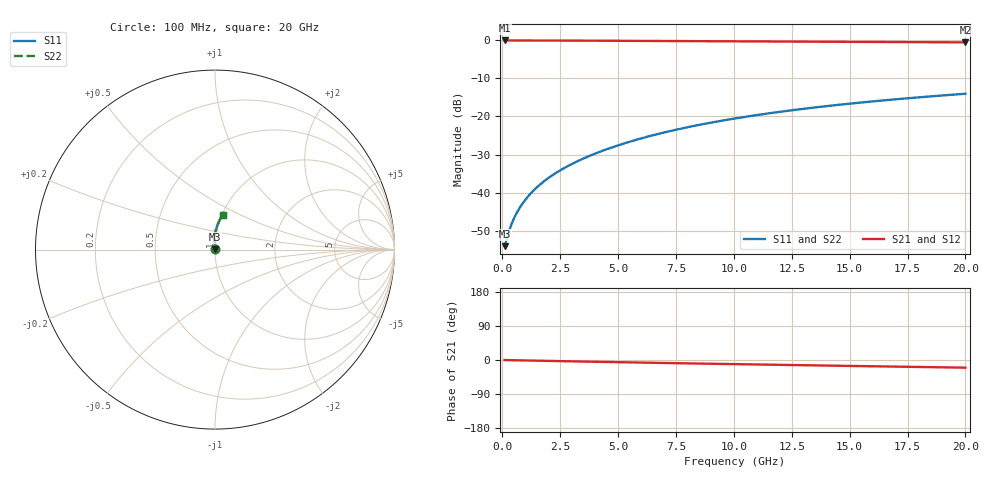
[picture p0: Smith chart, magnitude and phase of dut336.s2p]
! Touchstone file exported from HFSS 2024.1.0
!  File:  C:/UserFiles/LocalFiles/RDL_TSV_Batchsim/temp_RDL_top_336_1779607615.aedt
!  Generated:  03:29:26 PM May 24, 2026
!  Design:  RDL_top
!  Project:  temp_RDL_top_336_1779607615
!  Setup:  Setup1
!  Solution:  Sweep
! Variables:
!  dtsv = 10.80580581um
!  hbump = 3um
!  htsv = 86.73um
!  ldown = 100um
!  lrdl = 256.17um
!  p = 40
!  p1 = 53.99um
!  rhole = 1um
!  t = 450um
!  tdown = 3.915915916um
!  trdl = 2.3um
!  wdown = 15.38538539um
!  wrdl = 28.95um
# GHz S MA R 50.000000
! Terminal data exported
! Port[1] = Box2_T1
! Port[2] = Box2_T2
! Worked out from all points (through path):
!   200 points, 100 MHz to 20 GHz, reference 50 ohm
!   highest |S21| = -0.02 dB at 100 MHz (marker M1); lowest = -0.5 dB at 20 GHz (marker M2)
!   group delay of S21, straight-line fit = 2.77 ps
!   lowest |S11| = -54.1 dB at 100 MHz (marker M3), VSWR 1.00, Z = 50.2 + j0.0879 ohm
!   |S11| at or under -10 dB: start of sweep to end of sweep
!   |S22| runs from -54.1 to -14.0 dB; largest |S21 - S12| = 3.7e-15
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0.1  0.001974 26.3  0.9982 -0.1  0.9982 -0.1  0.001974 26.3
! Gamma 0 0 0 0
! Port Impedance 50 0 50 0
0.3  0.003167 53.2  0.998 -0.4  0.998 -0.4  0.003167 53.2
0.4  0.003851 59.4  0.9979 -0.5  0.9979 -0.5  0.003851 59.4
0.5  0.004543 63.8  0.9978 -0.6  0.9978 -0.6  0.004543 63.8
0.6  0.005238 67.1  0.9977 -0.7  0.9977 -0.7  0.005238 67.1
0.8  0.006642 72.0  0.9975 -1.0  0.9975 -1.0  0.006642 72.0
1  0.008072 75.5  0.9972 -1.2  0.9972 -1.2  0.008072 75.5
1.2  0.009529 78.2  0.997 -1.5  0.997 -1.5  0.009529 78.2
1.7  0.01328 82.7  0.9963 -2.0  0.9963 -2.0  0.01328 82.7
2.2  0.01717 85.5  0.9955 -2.6  0.9955 -2.6  0.01718 85.5
2.8  0.02204 87.8  0.9942 -3.3  0.9942 -3.3  0.02204 87.8
3.5  0.028 89.6  0.9925 -4.1  0.9925 -4.1  0.028 89.6
4.2  0.03425 90.7  0.9906 -4.9  0.9906 -4.9  0.03425 90.7
5  0.04174 91.4  0.9882 -5.8  0.9882 -5.8  0.04174 91.4
5.9  0.05054 91.7  0.9854 -6.8  0.9854 -6.8  0.05054 91.7
6.8  0.05967 91.5  0.9825 -7.7  0.9825 -7.7  0.05967 91.5
8.4  0.07646 90.5  0.9773 -9.3  0.9773 -9.3  0.07646 90.5
10.1  0.09472 88.9  0.9718 -11.0  0.9718 -11.0  0.09473 88.9
11.7  0.112 87.1  0.9669 -12.5  0.9669 -12.5  0.112 87.1
13.4  0.1303 85.1  0.9617 -14.1  0.9617 -14.1  0.1303 85.1
16.7  0.1652 81.2  0.9519 -17.2  0.9519 -17.2  0.1652 81.2
20  0.1989 77.4  0.9422 -20.2  0.9422 -20.2  0.1989 77.4
